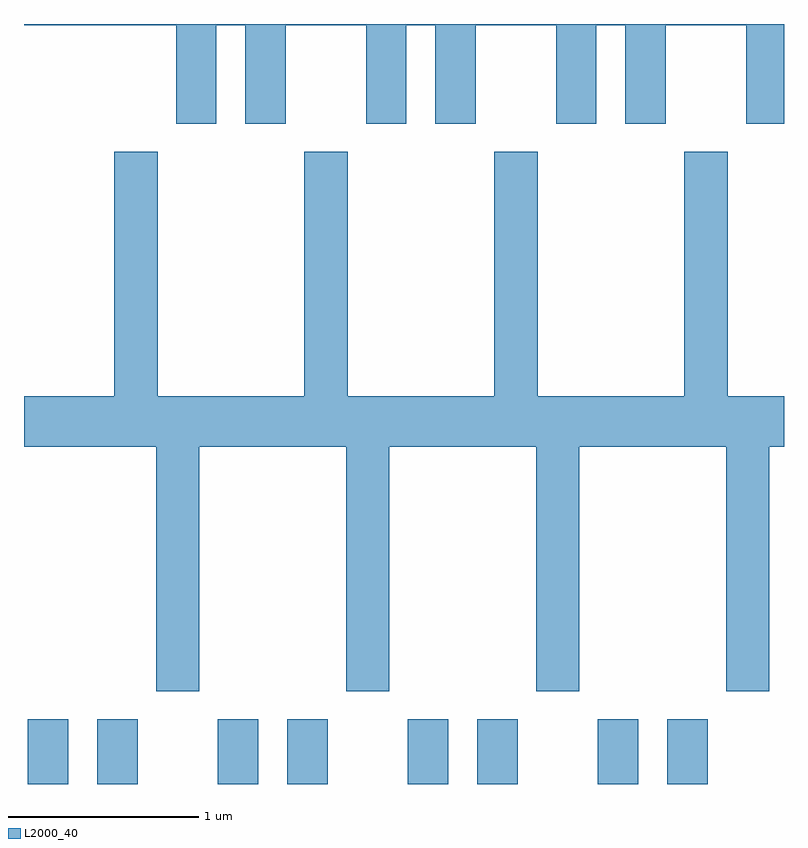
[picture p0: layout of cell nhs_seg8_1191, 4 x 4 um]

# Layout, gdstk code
import gdstk
lib = gdstk.Library(unit=1e-6, precision=1e-09)
def R(c, l, rs):  # rectangles x0, y0, x1, y1
    for r in rs: c.add(gdstk.rectangle(r[:2], r[2:], *l))
def P(c, l, *ps):  # polygons
    for p in ps: c.add(gdstk.Polygon(p, *l))
L2000_40 = (2000, 40)

nhs_seg8_1191 = lib.new_cell('nhs_seg8_1191')
R(nhs_seg8_1191, L2000_40, [(219.631,1912.342,219.844,1912.684), (219.996,1912.342,220.209,1912.684), (220.631,1912.342,220.844,1912.684), (220.996,1912.342,221.209,1912.684), (221.631,1912.342,221.844,1912.684), (221.996,1912.342,222.209,1912.684), (222.631,1912.342,222.844,1912.684), (222.996,1912.342,223.209,1912.684)])
P(nhs_seg8_1191, L2000_40, [(220.624,1916.336),(220.776,1916.336),(220.776,1915.816),(220.989,1915.816),(220.989,1916.336),(221.411,1916.336),(221.411,1915.816),(221.624,1915.816),(221.624,1916.336),(221.776,1916.336),(221.776,1915.816),(221.989,1915.816),(221.989,1916.336),(222.411,1916.336),(222.411,1915.816),(222.624,1915.816),(222.624,1916.336),(222.776,1916.336),(222.776,1915.816),(222.989,1915.816),(222.989,1916.336),(223.411,1916.336),(223.411,1915.816),(223.611,1915.816),(223.611,1916.342),(219.611,1916.342),(219.611,1916.336),(220.411,1916.336),(220.411,1915.816),(220.624,1915.816)],
  [(220.314,1915.669),(220.086,1915.669),(220.086,1914.384),(219.611,1914.384),(219.611,1914.116),(220.306,1914.116),(220.306,1912.831),(220.534,1912.831),(220.534,1914.116),(221.306,1914.116),(221.306,1912.831),(221.534,1912.831),(221.534,1914.116),(222.306,1914.116),(222.306,1912.831),(222.534,1912.831),(222.534,1914.116),(223.306,1914.116),(223.306,1912.831),(223.534,1912.831),(223.534,1914.116),(223.611,1914.116),(223.611,1914.384),(223.314,1914.384),(223.314,1915.669),(223.086,1915.669),(223.086,1914.384),(222.314,1914.384),(222.314,1915.669),(222.086,1915.669),(222.086,1914.384),(221.314,1914.384),(221.314,1915.669),(221.086,1915.669),(221.086,1914.384),(220.314,1914.384)])

lib.write_gds('nhs_seg8_1191.gds')
